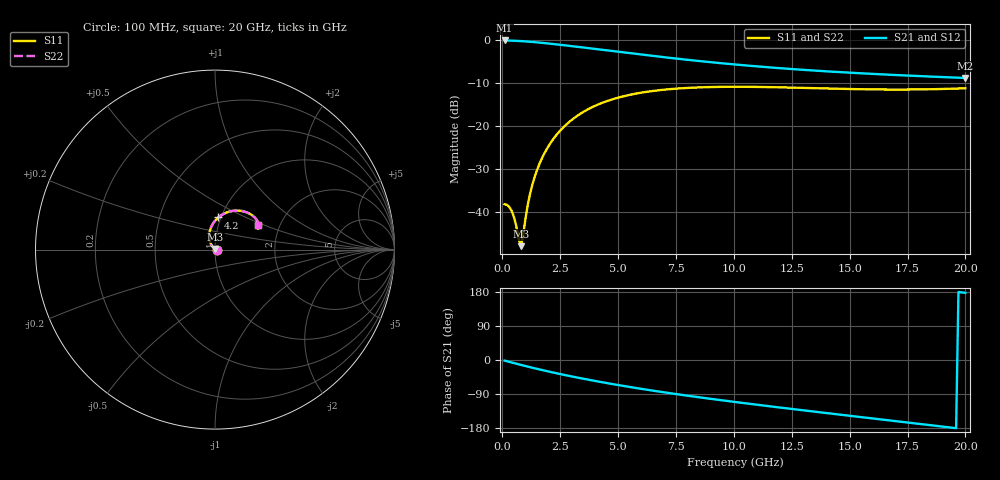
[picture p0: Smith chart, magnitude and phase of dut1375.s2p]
! Touchstone file exported from HFSS 2024.1.0
!  File:  C:/UserFiles/LocalFiles/RDL_TSV_Batchsim/temp_RDL_TSV_1375_1780399631.aedt
!  Generated:  07:44:04 PM Jun  2, 2026
!  Design:  RDL_TSV
!  Project:  temp_RDL_TSV_1375_1780399631
!  Setup:  Setup1
!  Solution:  Sweep
! Variables:
!  dtsv = 8.58um
!  hbump = 3um
!  htsv = 98.91um
!  ldown = 479.47um
!  lrdl = 213.96um
!  p = 40
!  p1 = 47.72um
!  rhole = 10um
!  subl = 2294.25um
!  t = 450um
!  tdown = 3.98um
!  trdl = 4.48um
!  viad = 10um
!  wdown = 16.31um
!  wrdl = 20.22um
!  xbump = 18um
# GHz S MA R 50.000000
! Terminal data exported
! Port[1] = TM1_1_T1
! Port[2] = TM1_4_T1
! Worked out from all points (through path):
!   200 points, 100 MHz to 20 GHz, reference 50 ohm
!   highest |S21| = -0.11 dB at 100 MHz (marker M1); lowest = -8.8 dB at 20 GHz (marker M2)
!   group delay of S21, straight-line fit = 23.8 ps
!   lowest |S11| = -48.0 dB at 800 MHz (marker M3), VSWR 1.01, Z = 50.2 + j0.358 ohm
!   |S11| at or under -10 dB: start of sweep to end of sweep
!   |S22| runs from -48.0 to -10.9 dB; largest |S21 - S12| = 1.7e-14
!   S11 on the Smith chart (normalised r, x): 100 MHz: 1.02, +0.00; 4.2 GHz: 0.97, +0.36; 20 GHz: 1.55, +0.45
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0.1  0.01226 1.8  0.9873 -1.7  0.9873 -1.7  0.01226 1.8
! Gamma 0 0 0 0
! Port Impedance 50 0 50 0
0.3  0.01142 3.1  0.9845 -4.9  0.9845 -4.9  0.01142 3.1
0.4  0.01031 3.9  0.9824 -6.5  0.9824 -6.5  0.01032 3.9
0.5  0.008762 6.3  0.98 -8.1  0.98 -8.1  0.008764 6.3
0.7  0.004969 28.0  0.9742 -11.3  0.9742 -11.3  0.004973 28.0
0.8  0.003983 63.4  0.9707 -12.9  0.9707 -12.9  0.003985 63.3
0.9  0.005303 101.2  0.9669 -14.4  0.9669 -14.4  0.0053 101.2
1  0.008293 118.8  0.9628 -16.0  0.9628 -16.0  0.008287 118.8
1.2  0.01625 128.5  0.9537 -19.0  0.9537 -19.0  0.01624 128.5
1.4  0.0256 129.0  0.9436 -22.0  0.9436 -22.0  0.02559 129.0
1.7  0.04133 125.5  0.9272 -26.3  0.9272 -26.3  0.0413 125.5
2.1  0.06423 118.7  0.9036 -31.8  0.9036 -31.8  0.0642 118.6
2.5  0.08807 111.4  0.8791 -37.1  0.8791 -37.1  0.08803 111.4
3.5  0.1455 94.4  0.8171 -49.5  0.8171 -49.5  0.1454 94.4
4.2  0.1803 84.0  0.7751 -57.5  0.7751 -57.5  0.1802 84.0
5.4  0.2266 69.2  0.7076 -70.2  0.7076 -70.2  0.2265 69.2
6.8  0.2608 55.7  0.6383 -83.6  0.6383 -83.6  0.2607 55.7
8.4  0.2801 44.4  0.5725 -97.6  0.5725 -97.6  0.2799 44.3
10.1  0.2854 35.8  0.517 -111.2  0.517 -111.2  0.2852 35.8
13.4  0.2752 27.2  0.4418 -135.7  0.4418 -135.7  0.2749 27.2
16.7  0.2649 26.6  0.3942 -159.3  0.3942 -159.3  0.2645 26.6
20  0.2743 29.4  0.3611 177.2  0.3611 177.2  0.2739 29.5
